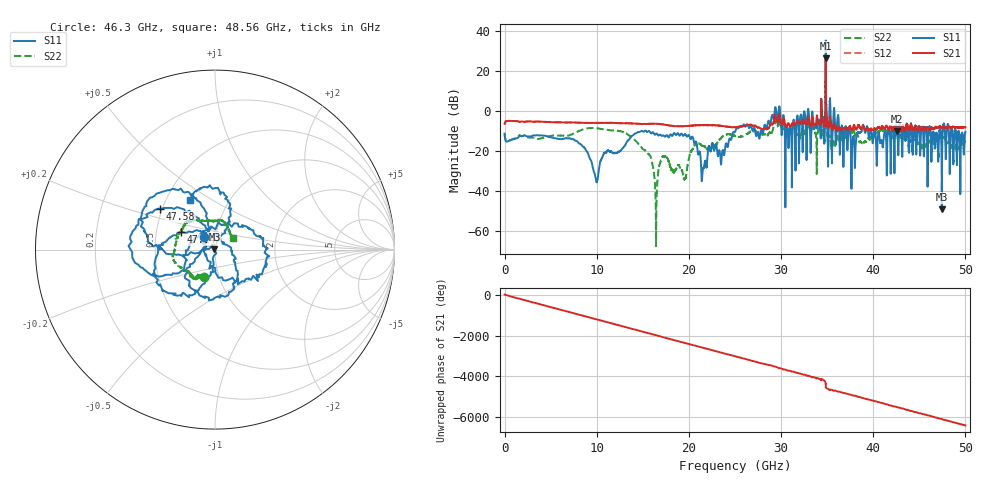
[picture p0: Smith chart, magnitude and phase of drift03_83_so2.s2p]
!Created with skrf (http://scikit-rf.org).
# Hz S RI R 50.0
!freq ReS11 ImS11 ReS21 ImS21 ReS12 ImS12 ReS22 ImS22
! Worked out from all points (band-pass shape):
!   10001 points, 300 kHz to 50 GHz, reference 50 ohm
!   highest |S21| = 26.36 dB at 34.85 GHz (marker M1); lowest = -10.3 dB at 42.55 GHz (marker M2)
!   |S21| within 3 dB of the highest: 34.8437 GHz to 34.84604 GHz (2.339 MHz wide, 0.00671 % of centre)
!   lowest |S11| = -49.3 dB at 47.44 GHz (marker M3), VSWR 1.01, Z = 49.7 + j0.142 ohm
!   |S11| at or under -10 dB: start of sweep to 15.23 GHz; 15.31 GHz to 25.05 GHz (9.744 GHz wide, 48.3 % of centre); 40.22 GHz to 41.61 GHz (1.389 GHz wide, 3.4 % of centre) (the widest 3 of 52)
!   |S22| runs from -67.8 to 17.2 dB; largest |S21 - S12| = 2.9
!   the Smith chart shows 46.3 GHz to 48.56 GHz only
!   S11 on the Smith chart (normalised r, x): 46.3 GHz: 0.88, +0.13; 47.14 GHz: 0.67, +0.14; 47.58 GHz: 0.49, +0.26; 48.56 GHz: 0.66, +0.40
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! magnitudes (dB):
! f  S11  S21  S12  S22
! 300 kHz  -11.4  -6.5  -6.5  -11.4
! 8.335 GHz  -17.1  -6.0  -6.0  -9.6
! 9.955 GHz  -35.7  -6.0  -6.0  -8.7
! 13.85 GHz  -12.5  -6.3  -6.3  -13.5
! 16.67 GHz  -12.3  -6.5  -6.5  -30.6
! 17.33 GHz  -12.7  -6.9  -6.9  -23.1
! 19.56 GHz  -11.6  -7.6  -7.6  -33.9
! 20.22 GHz  -13.8  -7.4  -7.4  -20.5
! 21.55 GHz  -28.9  -7.2  -7.2  -17.7
! 25 GHz  -10.6  -8.2  -8.2  -12.6
! 33.34 GHz  -3.8  -6.7  -6.7  -9.3
! 34.85 GHz  35.3  26.4  26.1  17.2
! 37.83 GHz  -12.8  -8.2  -8.2  -9.6
! 39.07 GHz  -10.3  -9.3  -9.5  -15.4
! 41.67 GHz  -9.2  -9.4  -9.3  -11.4
! 42.55 GHz  -8.6  -10.3  -10.3  -13.2
! 46.3 GHz  -20.7  -8.6  -8.6  -15.5
! 47.14 GHz  -13.4  -8.2  -8.2  -12.4
! 47.44 GHz  -49.3  -8.5  -8.5  -13.3
! 47.58 GHz  -8.4  -8.2  -8.2  -13.2
! 48.56 GHz  -10.2  -8.2  -8.2  -18.5
! 50 GHz  -10.5  -8.3  -8.2  -15.4
